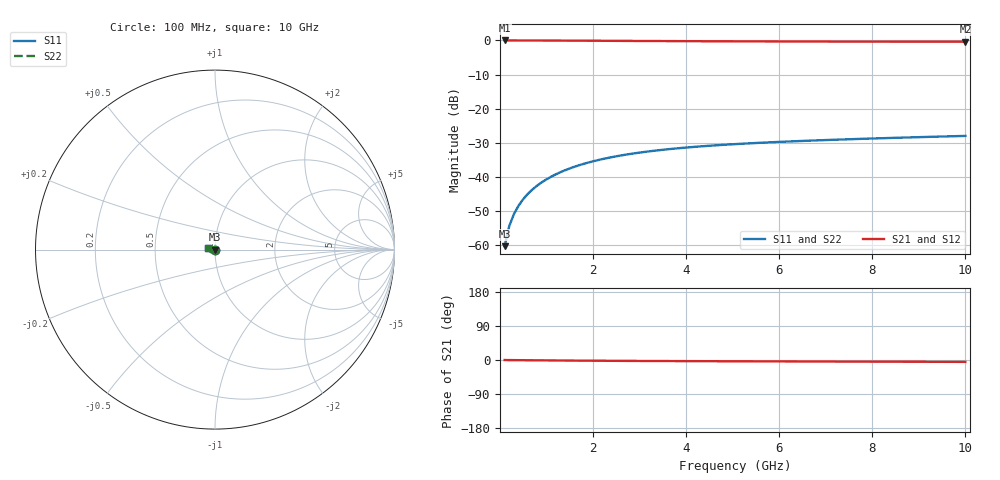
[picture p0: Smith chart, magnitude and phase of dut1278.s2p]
! Touchstone file exported from HFSS 2024.1.0
!  File:  C:/UserFiles/LocalFiles/RDL_TSV_Batchsim/temp_TSV1_1278_1780254981.aedt
!  Generated:  03:21:55 AM Jun  1, 2026
!  Design:  TSV1
!  Project:  temp_TSV1_1278_1780254981
!  Setup:  Setup1
!  Solution:  Sweep
! Variables:
!  dtsv = 8.25um
!  hbump = 3um
!  htsv = 76.33um
!  lrdl = 252.1521522um
!  p = 40
!  p1 = 48.25um
!  t = 500um
!  trdl = 3um
!  wrdl = 24.89489489um
# GHz S MA R 50.000000
! Terminal data exported
! Port[1] = TSV22_T1
! Port[2] = TSV22_T2
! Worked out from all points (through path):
!   100 points, 100 MHz to 10 GHz, reference 50 ohm
!   highest |S21| = 0.00 dB at 100 MHz (marker M1); lowest = -0.4 dB at 10 GHz (marker M2)
!   lowest |S11| = -60.4 dB at 100 MHz (marker M3), VSWR 1.00, Z = 50 - j0.0941 ohm
!   |S11| at or under -10 dB: start of sweep to end of sweep
!   |S22| runs from -60.4 to -28.0 dB; largest |S21 - S12| = 7e-15
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0.1  0.0009573 -79.4  0.9998 -0.1  0.9998 -0.1  0.0009573 -79.4
! Gamma 0 0 0 0
! Port Impedance 50 0 50 0
0.2  0.001892 -87.2  0.9997 -0.2  0.9997 -0.2  0.001892 -87.2
0.3  0.00283 -91.2  0.9995 -0.3  0.9995 -0.3  0.00283 -91.2
0.4  0.003765 -94.1  0.9993 -0.4  0.9993 -0.4  0.003765 -94.1
0.5  0.004692 -96.6  0.999 -0.5  0.999 -0.5  0.004692 -96.6
0.6  0.005611 -98.9  0.9986 -0.6  0.9986 -0.6  0.005611 -98.9
0.7  0.006518 -101.0  0.9983 -0.8  0.9983 -0.8  0.006518 -101.0
0.8  0.007414 -103.0  0.9978 -0.9  0.9978 -0.9  0.007414 -103.0
0.9  0.008296 -105.0  0.9973 -1.0  0.9973 -1.0  0.008296 -105.0
1.1  0.01001 -108.8  0.9962 -1.1  0.9962 -1.1  0.01001 -108.8
1.4  0.01246 -114.2  0.9944 -1.4  0.9944 -1.4  0.01246 -114.2
1.6  0.014 -117.6  0.993 -1.6  0.993 -1.6  0.014 -117.6
1.8  0.01546 -120.9  0.9915 -1.7  0.9915 -1.7  0.01546 -120.9
2.1  0.0175 -125.6  0.9892 -2.0  0.9892 -2.0  0.0175 -125.6
2.5  0.01995 -131.5  0.9862 -2.2  0.9862 -2.2  0.01995 -131.5
2.9  0.02211 -136.9  0.9832 -2.5  0.9832 -2.5  0.02211 -136.9
3.4  0.02445 -143.1  0.9798 -2.7  0.9798 -2.7  0.02445 -143.1
4.2  0.02751 -151.8  0.9749 -3.0  0.9749 -3.0  0.02751 -151.8
5.1  0.03023 -160.3  0.9705 -3.4  0.9705 -3.4  0.03023 -160.3
6.7  0.03394 -172.6  0.9649 -3.9  0.9649 -3.9  0.03394 -172.6
8.4  0.03709 176.9  0.9609 -4.4  0.9609 -4.4  0.03709 176.9
10  0.03973 168.6  0.9583 -5.0  0.9583 -5.0  0.03973 168.6
